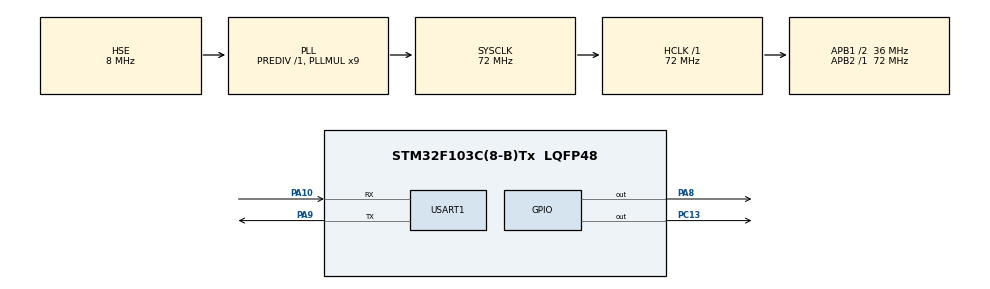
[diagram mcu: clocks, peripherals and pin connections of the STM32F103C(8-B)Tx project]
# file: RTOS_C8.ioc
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FREERTOS.BinarySemaphores01=semUart,Dynamic,NULL,Available
FREERTOS.Tasks01=defaultTask,24,128,StartDefaultTask,Default,NULL,Dynamic,NULL,NULL;myTask02,24,128,StartTask02,Default,NULL,Dynamic,NULL,NULL
FREERTOS.configUSE_NEWLIB_REENTRANT=1
Mcu.Family=STM32F1
Mcu.Name=STM32F103C(8-B)Tx
Mcu.Package=LQFP48
NVIC.PriorityGroup=NVIC_PRIORITYGROUP_4
NVIC.TIM3_IRQn=true\:15\:0\:false\:false\:true\:false\:false\:true\:true
NVIC.TimeBase=TIM3_IRQn
NVIC.TimeBaseIP=TIM3
PA10.Mode=Asynchronous
PA10.Signal=USART1_RX
PA13.Mode=Serial_Wire
PA13.Signal=SYS_JTMS-SWDIO
PA14.Mode=Serial_Wire
PA14.Signal=SYS_JTCK-SWCLK
PA8.Signal=GPIO_Output
PA9.Mode=Asynchronous
PA9.Signal=USART1_TX
PC13-TAMPER-RTC.Signal=GPIO_Output
PD0-OSC_IN.Mode=HSE-External-Oscillator
PD0-OSC_IN.Signal=RCC_OSC_IN
PD1-OSC_OUT.Mode=HSE-External-Oscillator
PD1-OSC_OUT.Signal=RCC_OSC_OUT
ProjectManager.HeapSize=0x200
ProjectManager.StackSize=0x400
ProjectManager.TargetToolchain=STM32CubeIDE
RCC.AHBFreq_Value=72000000
RCC.APB1CLKDivider=RCC_HCLK_DIV2
RCC.APB1Freq_Value=36000000
RCC.APB1TimFreq_Value=72000000
RCC.APB2Freq_Value=72000000
RCC.APB2TimFreq_Value=72000000
RCC.HCLKFreq_Value=72000000
RCC.PLLMUL=RCC_PLL_MUL9
RCC.PLLSourceVirtual=RCC_PLLSOURCE_HSE
RCC.SYSCLKFreq_VALUE=72000000
RCC.SYSCLKSource=RCC_SYSCLKSOURCE_PLLCLK
RCC.USBFreq_Value=72000000
USART1.VirtualMode=VM_ASYNC
VP_FREERTOS_VS_CMSIS_V2.Mode=CMSIS_V2
VP_SYS_VS_tim3.Mode=TIM3
board=custom

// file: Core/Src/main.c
/* USER CODE BEGIN Header */
/**
  ******************************************************************************
  * @file           : main.c
  * @brief          : Main program body
  ******************************************************************************
  * @attention
  *
  * Copyright (c) 2025 STMicroelectronics.
  * All rights reserved.
  *
  * This software is licensed under terms that can be found in the LICENSE file
  * in the root directory of this software component.
  * If no LICENSE file comes with this software, it is provided AS-IS.
  *
  ******************************************************************************
  */
/* USER CODE END Header */
#include "main.h"
#include "cmsis_os.h"

/* USER CODE BEGIN Includes */
#include "stdio.h"
#include "string.h"
/* USER CODE END Includes */

/* USER CODE BEGIN PD */
#define SEM_UART_USE 1
/* USER CODE END PD */

UART_HandleTypeDef huart1;

/* Definitions for defaultTask */
osThreadId_t defaultTaskHandle;
const osThreadAttr_t defaultTask_attributes = {
  .name = "defaultTask",
  .stack_size = 128 * 4,
  .priority = (osPriority_t) osPriorityNormal,
};
/* Definitions for myTask02 */
osThreadId_t myTask02Handle;
const osThreadAttr_t myTask02_attributes = {
  .name = "myTask02",
  .stack_size = 128 * 4,
  .priority = (osPriority_t) osPriorityNormal,
};
/* Definitions for semUart */
osSemaphoreId_t semUartHandle;
const osSemaphoreAttr_t semUart_attributes = {
  .name = "semUart"
};

void SystemClock_Config(void);
static void MX_GPIO_Init(void);
static void MX_USART1_UART_Init(void);
void StartDefaultTask(void *argument);
void StartTask02(void *argument);

/* USER CODE BEGIN PFP */
int _write(int fd, char * ptr, int len) {
  HAL_UART_Transmit( & huart1, (uint8_t * ) ptr, len, HAL_MAX_DELAY);
  return len;
}
/* USER CODE END PFP */

int main(void)
{

  /* MCU Configuration--------------------------------------------------------*/

  /* Reset of all peripherals, Initializes the Flash interface and the Systick. */
  HAL_Init();

  /* Configure the system clock */
  SystemClock_Config();

  /* Initialize all configured peripherals */
  MX_GPIO_Init();
  MX_USART1_UART_Init();

  /* Init scheduler */
  osKernelInitialize();

  /* Create the semaphores(s) */
  /* creation of semUart */
  semUartHandle = osSemaphoreNew(1, 1, &semUart_attributes);

  /* Create the thread(s) */
  /* creation of defaultTask */
  defaultTaskHandle = osThreadNew(StartDefaultTask, NULL, &defaultTask_attributes);

  /* creation of myTask02 */
  myTask02Handle = osThreadNew(StartTask02, NULL, &myTask02_attributes);

  /* Start scheduler */
  osKernelStart();

  /* We should never get here as control is now taken by the scheduler */

  /* Infinite loop */
  while (1)
  {

  }
}

void SystemClock_Config(void)
{
  RCC_OscInitTypeDef RCC_OscInitStruct = {0};
  RCC_ClkInitTypeDef RCC_ClkInitStruct = {0};

  /** Initializes the RCC Oscillators according to the specified parameters
  * in the RCC_OscInitTypeDef structure.
  */
  RCC_OscInitStruct.OscillatorType = RCC_OSCILLATORTYPE_HSE;
  RCC_OscInitStruct.HSEState = RCC_HSE_ON;
  RCC_OscInitStruct.HSEPredivValue = RCC_HSE_PREDIV_DIV1;
  RCC_OscInitStruct.HSIState = RCC_HSI_ON;
  RCC_OscInitStruct.PLL.PLLState = RCC_PLL_ON;
  RCC_OscInitStruct.PLL.PLLSource = RCC_PLLSOURCE_HSE;
  RCC_OscInitStruct.PLL.PLLMUL = RCC_PLL_MUL9;
  if (HAL_RCC_OscConfig(&RCC_OscInitStruct) != HAL_OK)
  {
    Error_Handler();
  }

  /** Initializes the CPU, AHB and APB buses clocks
  */
  RCC_ClkInitStruct.ClockType = RCC_CLOCKTYPE_HCLK|RCC_CLOCKTYPE_SYSCLK
                              |RCC_CLOCKTYPE_PCLK1|RCC_CLOCKTYPE_PCLK2;
  RCC_ClkInitStruct.SYSCLKSource = RCC_SYSCLKSOURCE_PLLCLK;
  RCC_ClkInitStruct.AHBCLKDivider = RCC_SYSCLK_DIV1;
  RCC_ClkInitStruct.APB1CLKDivider = RCC_HCLK_DIV2;
  RCC_ClkInitStruct.APB2CLKDivider = RCC_HCLK_DIV1;

  if (HAL_RCC_ClockConfig(&RCC_ClkInitStruct, FLASH_LATENCY_2) != HAL_OK)
  {
    Error_Handler();
  }
}

static void MX_USART1_UART_Init(void)
{

  huart1.Instance = USART1;
  huart1.Init.BaudRate = 115200;
  huart1.Init.WordLength = UART_WORDLENGTH_8B;
  huart1.Init.StopBits = UART_STOPBITS_1;
  huart1.Init.Parity = UART_PARITY_NONE;
  huart1.Init.Mode = UART_MODE_TX_RX;
  huart1.Init.HwFlowCtl = UART_HWCONTROL_NONE;
  huart1.Init.OverSampling = UART_OVERSAMPLING_16;
  if (HAL_UART_Init(&huart1) != HAL_OK)
  {
    Error_Handler();
  }

}

static void MX_GPIO_Init(void)
{
  GPIO_InitTypeDef GPIO_InitStruct = {0};

  /* GPIO Ports Clock Enable */
  __HAL_RCC_GPIOC_CLK_ENABLE();
  __HAL_RCC_GPIOD_CLK_ENABLE();
  __HAL_RCC_GPIOA_CLK_ENABLE();

  /*Configure GPIO pin Output Level */
  HAL_GPIO_WritePin(GPIOC, GPIO_PIN_13, GPIO_PIN_RESET);

  /*Configure GPIO pin Output Level */
  HAL_GPIO_WritePin(GPIOA, GPIO_PIN_8, GPIO_PIN_RESET);

  /*Configure GPIO pin : PC13 */
  GPIO_InitStruct.Pin = GPIO_PIN_13;
  GPIO_InitStruct.Mode = GPIO_MODE_OUTPUT_PP;
  GPIO_InitStruct.Pull = GPIO_NOPULL;
  GPIO_InitStruct.Speed = GPIO_SPEED_FREQ_LOW;
  HAL_GPIO_Init(GPIOC, &GPIO_InitStruct);

  /*Configure GPIO pin : PA8 */
  GPIO_InitStruct.Pin = GPIO_PIN_8;
  GPIO_InitStruct.Mode = GPIO_MODE_OUTPUT_PP;
  GPIO_InitStruct.Pull = GPIO_NOPULL;
  GPIO_InitStruct.Speed = GPIO_SPEED_FREQ_LOW;
  HAL_GPIO_Init(GPIOA, &GPIO_InitStruct);

}

void StartDefaultTask(void *argument)
{
  /* USER CODE BEGIN 5 */
	uint32_t next_wake_time = osKernelGetTickCount();
  /* Infinite loop */
  for(;;)
  {
#if SEM_UART_USE
	osSemaphoreAcquire(semUartHandle, osWaitForever);
#endif
	printf("Task 1 in: %ld\n", osKernelGetTickCount());
	osSemaphoreRelease(semUartHandle);

	HAL_GPIO_TogglePin(GPIOC, GPIO_PIN_13);

#if SEM_UART_USE
	osSemaphoreAcquire(semUartHandle, osWaitForever);
#endif
	printf("Task 1 out: %ld\n\n", osKernelGetTickCount());
	osSemaphoreRelease(semUartHandle);

	next_wake_time += 1000;
	osDelayUntil(next_wake_time);

  }
  /* USER CODE END 5 */
}

void StartTask02(void *argument)
{
  /* USER CODE BEGIN StartTask02 */
	uint32_t next_wake_time = osKernelGetTickCount();
  /* Infinite loop */
  for(;;)
  {
#if SEM_UART_USE
	osSemaphoreAcquire(semUartHandle, osWaitForever);
#endif
	printf("Task 2 in: %ld\n", osKernelGetTickCount());
	osSemaphoreRelease(semUartHandle);

	HAL_GPIO_TogglePin(GPIOA, GPIO_PIN_8);

#if SEM_UART_USE
	osSemaphoreAcquire(semUartHandle, osWaitForever);
#endif
	printf("Task 2 out: %ld\n\n", osKernelGetTickCount());
	osSemaphoreRelease(semUartHandle);

	next_wake_time += 1500;
	osDelayUntil(next_wake_time);
  }
  /* USER CODE END StartTask02 */
}

void HAL_TIM_PeriodElapsedCallback(TIM_HandleTypeDef *htim)
{
  if (htim->Instance == TIM3) {
    HAL_IncTick();
  }
}

void Error_Handler(void)
{
  __disable_irq();
  while (1)
  {
  }
}
